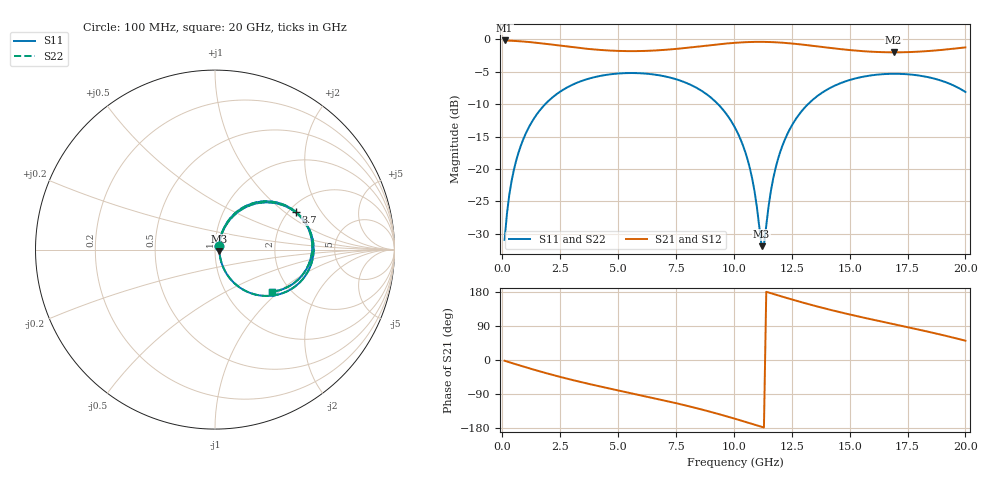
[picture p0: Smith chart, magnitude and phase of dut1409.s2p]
! Touchstone file exported from HFSS 2026.1.0
!  File:  C:/ffzhzh/LocalFiles/Ansys_Project_Files/temp_train_TSV_RDL_1409_1783352795_4416.aedt
!  Generated:  12:00:05 AM Jul  7, 2026
!  Design:  TSV_RDL
!  Project:  temp_train_TSV_RDL_1409_1783352795_4416
! Variables:
!  h_bsmrdl = 5.07um
!  h_ox = 20um
!  h_rdl = 5um
!  h_sub = 99.64um
!  h_tmrdl = 3.35um
!  h_tsv = 99.64um
!  h_via = 3um
!  l_bsmrdl = 689.04um
!  l_sub = 5165.01um
!  l_tmrdl = 641.6um
!  m_sub = 200um
!  pitch = 55.27um
!  r_tsv = 9.67um
!  s_tmrdl = 10um
!  w_bsmrdl = 20.39um
!  w_sub = 500um
!  w_tmrdl = 23.44um
!  x_tsv_center1 = 653.32um
!  x_tsv_center2 = 1362.75um
!  x_tsv_center3 = 2027.79um
!  x_tsv_center4 = 2737.22um
!  x_tsv_center5 = 3402.26um
!  x_tsv_center6 = 4111.69um
# GHz S MA R 50.000000
! Terminal data exported
! Port[1] = TM_RDL1_1_T1
! Port[2] = TM_RDL5_1_T1
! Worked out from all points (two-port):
!   200 points, 100 MHz to 20 GHz, reference 50 ohm
!   highest |S21| = -0.18 dB at 100 MHz (marker M1); lowest = -2.0 dB at 16.9 GHz (marker M2)
!   |S21| within 3 dB of the highest: start of sweep to end of sweep
!   lowest |S11| = -31.9 dB at 11.2 GHz (marker M3), VSWR 1.05, Z = 52.5 - j0.762 ohm
!   |S11| at or under -10 dB: start of sweep to 1.855 GHz; 9.317 GHz to 13.2 GHz (3.885 GHz wide, 34.5 % of centre)
!   |S22| runs from -31.9 to -5.2 dB; largest |S21 - S12| = 1.7e-14
!   S11 on the Smith chart (normalised r, x): 100 MHz: 1.04, +0.04; 3.7 GHz: 2.18, +1.20; 20 GHz: 1.61, -0.90
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0.1  0.02847 43.5  0.9798 -2.0  0.9798 -2.0  0.02847 43.5
! Gamma 0 0 0 0
! Port Impedance 50 0 50 0
0.3  0.06279 63.9  0.9765 -5.9  0.9765 -5.9  0.06279 63.9
0.5  0.09852 66.9  0.9725 -9.6  0.9725 -9.6  0.09852 66.9
1.1  0.2022 62.3  0.9551 -20.8  0.9551 -20.8  0.2022 62.3
2.1  0.3485 47.8  0.9121 -38.1  0.9121 -38.1  0.3485 47.8
3.5  0.4826 27.5  0.8507 -59.7  0.8507 -59.7  0.4826 27.5
3.7  0.4954 24.8  0.8437 -62.6  0.8437 -62.6  0.4953 24.8
5.3  0.5486 4.0  0.8115 -84.2  0.8115 -84.2  0.5486 4.0
6.8  0.5271 -15.1  0.8242 -104.1  0.8242 -104.1  0.5271 -15.1
8.8  0.38 -42.8  0.8932 -133.6  0.8932 -133.6  0.38 -42.7
10.1  0.2004 -61.2  0.9413 -156.0  0.9413 -156.0  0.2004 -61.2
10.8  0.08315 -63.8  0.9545 -168.8  0.9545 -168.8  0.08312 -63.8
11.2  0.02545 -16.6  0.9558 -176.3  0.9558 -176.3  0.02542 -16.5
11.3  0.02605 22.4  0.9553 -178.2  0.9553 -178.2  0.02604 22.5
11.6  0.06779 63.9  0.9522 176.2  0.9522 176.2  0.06781 64.0
12  0.1351 67.3  0.944 168.9  0.944 168.9  0.1351 67.3
12.6  0.2313 61.1  0.9248 158.1  0.9248 158.1  0.2313 61.1
13.4  0.3411 49.8  0.8913 144.5  0.8913 144.5  0.3411 49.9
14.8  0.4728 30.2  0.8332 123.0  0.8332 123.0  0.4728 30.3
16.7  0.5414 6.0  0.7942 97.2  0.7942 97.2  0.5414 6.0
16.9  0.5423 3.5  0.7937 94.6  0.7937 94.6  0.5422 3.6
20  0.3929 -36.7  0.8666 50.9  0.8666 50.9  0.3929 -36.6
